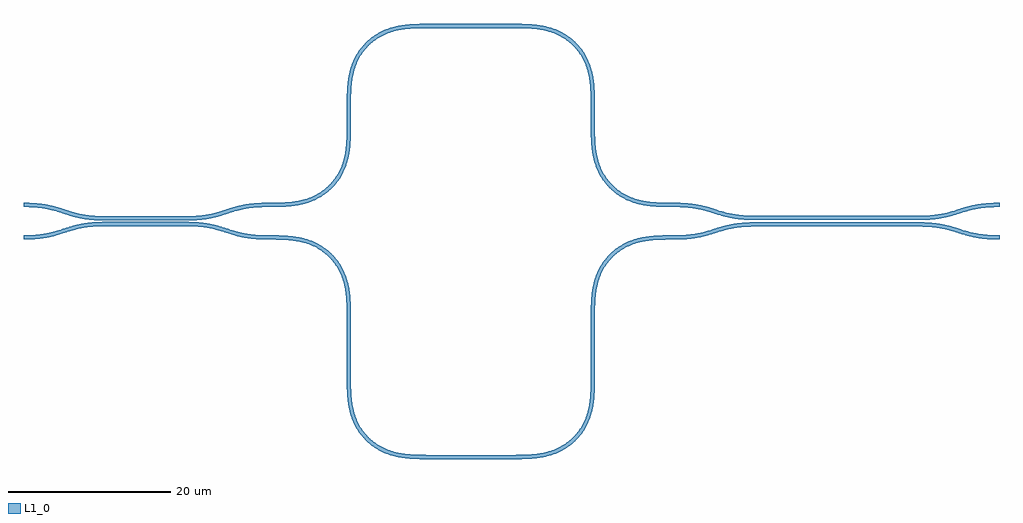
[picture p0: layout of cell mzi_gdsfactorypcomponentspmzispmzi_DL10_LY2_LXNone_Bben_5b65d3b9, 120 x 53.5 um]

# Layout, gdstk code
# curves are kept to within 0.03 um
from math import pi, radians
import gdstk
lib = gdstk.Library(unit=1e-6, precision=1e-09)
def R(c, l, rs):  # rectangles x0, y0, x1, y1
    for r in rs: c.add(gdstk.rectangle(r[:2], r[2:], *l))
def P(c, l, *ps):  # polygons
    for p in ps: c.add(gdstk.Polygon(p, *l))
L1_0 = (1, 0)

coupler_gdsfactorypcompo = lib.new_cell('coupler_gdsfactorypcomponentspcouplerspcoupler_G0p2_L10_64d8ecb8')
P(coupler_gdsfactorypcompo, L1_0, [(-10,-1.9),(-10,-1.4),(-8.633,-1.353),(-7.417,-1.209),(-6.25,-0.951),(-4.051,-0.264),(-3.066,-0.022),(-1.653,0.181),(-0.303,0.248),(10,0.25),(11.653,0.181),(12.561,0.069),(13.532,-0.126),(16.087,-0.905),(17.222,-1.174),(18.633,-1.353),(20,-1.4),(20,-1.9),(18.989,-1.876),(17.877,-1.781),(16.379,-1.502),(14.073,-0.791),(13.15,-0.551),(12.276,-0.394),(11.115,-0.281),(-0.44,-0.254),(-1.839,-0.34),(-3.059,-0.531),(-4.073,-0.791),(-6.033,-1.41),(-7.335,-1.702),(-8.596,-1.851)],
  [(0,0.45),(-1.404,0.499),(-2.665,0.648),(-3.967,0.94),(-5.927,1.559),(-7.033,1.838),(-8.392,2.033),(-10,2.1),(-10,2.6),(-8.596,2.551),(-7.335,2.402),(-6.033,2.11),(-4.073,1.491),(-2.967,1.212),(-1.608,1.017),(0,0.95),(10,0.95),(11.367,0.997),(12.38,1.109),(13.327,1.291),(16.033,2.11),(17.131,2.366),(18.347,2.531),(20,2.6),(20,2.1),(18.392,2.033),(17.033,1.838),(15.927,1.559),(13.621,0.848),(12.768,0.666),(11.892,0.543),(10.303,0.452)])

bend_euler_gdsfactorypco = lib.new_cell('bend_euler_gdsfactorypcomponentspbendspbend_euler_RNone_387600b2')
P(bend_euler_gdsfactorypco, L1_0, [(0,-0.25),(0,0.25),(1.655,0.269),(2.881,0.353),(3.952,0.52),(4.99,0.806),(5.731,1.113),(6.431,1.505),(7.079,1.976),(7.575,2.425),(8.024,2.921),(8.495,3.569),(8.887,4.269),(9.194,5.01),(9.48,6.048),(9.647,7.119),(9.731,8.345),(9.75,10),(10.25,10),(10.235,8.468),(10.158,7.205),(10.023,6.224),(9.797,5.254),(9.457,4.312),(9.066,3.545),(8.5,2.715),(7.928,2.072),(7.285,1.5),(6.455,0.934),(5.688,0.543),(4.746,0.203),(3.776,-0.023),(2.795,-0.158),(1.532,-0.235)])

straight_gdsfactorypcomp = lib.new_cell('straight_gdsfactorypcomponentspwaveguidespstraight_L2_N_815d3d03')
R(straight_gdsfactorypcomp, L1_0, [(0,-0.25,2,0.25)])

c_straight_gdsfactorypcomp = lib.new_cell('straight_gdsfactorypcomponentspwaveguidespstraight_L7_N_ecd9aecc')
R(c_straight_gdsfactorypcomp, L1_0, [(0,-0.25,7,0.25)])

c_straight_gdsfactorypcomp_ = lib.new_cell('straight_gdsfactorypcomponentspwaveguidespstraight_L10__f2286423')
R(c_straight_gdsfactorypcomp_, L1_0, [(0,-0.25,10,0.25)])

c_coupler_gdsfactorypcompo = lib.new_cell('coupler_gdsfactorypcomponentspcouplerspcoupler_G0p3_L20_ab86c00a')
P(c_coupler_gdsfactorypcompo, L1_0, [(-10,-1.85),(-10,-1.35),(-8.511,-1.295),(-7.318,-1.148),(-6.248,-0.914),(-4.132,-0.271),(-3.161,-0.033),(-1.773,0.172),(-0.303,0.248),(21.144,0.219),(22.345,0.106),(23.348,-0.073),(26.085,-0.87),(27.221,-1.131),(28.511,-1.295),(30,-1.35),(30,-1.85),(28.856,-1.819),(27.877,-1.734),(26.292,-1.442),(24.075,-0.775),(23.06,-0.523),(21.953,-0.349),(20.719,-0.262),(-0.15,-0.25),(-1.608,-0.315),(-3.06,-0.523),(-4.075,-0.775),(-6.12,-1.398),(-7.336,-1.658),(-8.597,-1.803)],
  [(0,0.55),(-1.403,0.597),(-2.664,0.742),(-3.88,1.002),(-6.085,1.67),(-7.125,1.913),(-8.511,2.095),(-10,2.15),(-10,2.65),(-8.597,2.603),(-7.336,2.458),(-6.12,2.198),(-4.075,1.575),(-3.06,1.323),(-1.608,1.115),(-0.15,1.05),(20.986,1.073),(22.063,1.162),(23.241,1.361),(26.12,2.198),(27.233,2.441),(28.597,2.603),(30,2.65),(30,2.15),(28.511,2.095),(27.221,1.931),(26.085,1.67),(23.44,0.894),(22.345,0.694),(21.403,0.597),(20,0.55)])

mzi_gdsfactorypcomponent = lib.new_cell('mzi_gdsfactorypcomponentspmzispmzi_DL10_LY2_LXNone_Bben_5b65d3b9')
mzi_gdsfactorypcomponent.add(gdstk.Reference(coupler_gdsfactorypcompo, (0,0)))
mzi_gdsfactorypcomponent.add(gdstk.Reference(bend_euler_gdsfactorypco, (20,-1.65), x_reflection=True))
mzi_gdsfactorypcomponent.add(gdstk.Reference(bend_euler_gdsfactorypco, (30,-18.65), rotation=3*pi/2))
mzi_gdsfactorypcomponent.add(gdstk.Reference(bend_euler_gdsfactorypco, (20,2.35)))
mzi_gdsfactorypcomponent.add(gdstk.Reference(bend_euler_gdsfactorypco, (40,24.35), rotation=pi))
mzi_gdsfactorypcomponent.add(gdstk.Reference(bend_euler_gdsfactorypco, (60,14.35), rotation=pi/2))
mzi_gdsfactorypcomponent.add(gdstk.Reference(bend_euler_gdsfactorypco, (60,12.35), rotation=3*pi/2))
mzi_gdsfactorypcomponent.add(gdstk.Reference(bend_euler_gdsfactorypco, (50,-28.65)))
mzi_gdsfactorypcomponent.add(gdstk.Reference(bend_euler_gdsfactorypco, (70,-1.65), rotation=pi))
mzi_gdsfactorypcomponent.add(gdstk.Reference(straight_gdsfactorypcomp, (30,12.35), rotation=pi/2))
mzi_gdsfactorypcomponent.add(gdstk.Reference(c_straight_gdsfactorypcomp, (30,-11.65), rotation=3*pi/2))
mzi_gdsfactorypcomponent.add(gdstk.Reference(c_straight_gdsfactorypcomp_, (40,24.35)))
mzi_gdsfactorypcomponent.add(gdstk.Reference(c_straight_gdsfactorypcomp_, (40,-28.65)))
mzi_gdsfactorypcomponent.add(gdstk.Reference(c_coupler_gdsfactorypcompo, (100,-0.05), rotation=pi, x_reflection=True))
mzi_gdsfactorypcomponent.add(gdstk.Reference(straight_gdsfactorypcomp, (60,12.35), rotation=pi/2))
mzi_gdsfactorypcomponent.add(gdstk.Reference(c_straight_gdsfactorypcomp, (60,-18.65), rotation=pi/2))

lib.write_gds('mzi_gdsfactorypcomponentspmzispmzi_DL10_LY2_LXNone_Bben_5b65d3b9.gds')
